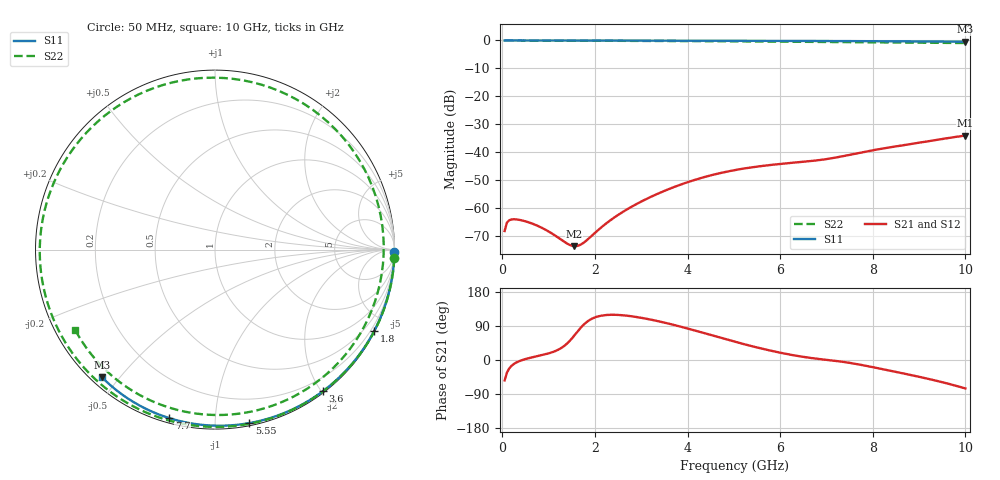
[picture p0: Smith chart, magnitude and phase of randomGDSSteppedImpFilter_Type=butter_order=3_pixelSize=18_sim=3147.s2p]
! freq	dB(S11)	phase(S11)	dB(S12)	phase(S12)
!  dB(S21)	phase(S21)	dB(S22)	phase(S22)
!S-par simulation data
#  GHz  S  DB  R 50
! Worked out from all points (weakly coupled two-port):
!   200 points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, 50 MHz to 10 GHz, reference 50 ohm
!   highest |S21| = -34.08 dB at 10 GHz (marker M1); lowest = -73.7 dB at 1.55 GHz (marker M2)
!   lowest |S11| = -0.4 dB at 10 GHz (marker M3), VSWR 39.01, Z = 1.54 - j22.5 ohm
!   |S11| at or under -10 dB: nowhere
!   |S22| runs from -0.9 to 0.0 dB; largest |S21 - S12| = 0
!   S11 on the Smith chart (normalised r, x): 50 MHz: open; 1.8 GHz: 0.04, -4.17; 3.6 GHz: 0.02, -2.02; 5.55 GHz: 0.02, -1.22; 7.7 GHz: 0.02, -0.76; 10 GHz: 0.03, -0.45
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0.05  -0.00 -0.8  -68.30 -54.0  -68.30 -54.0  -0.00 -2.7
0.1  -0.00 -1.5  -65.28 -33.4  -65.28 -33.4  -0.00 -5.3
0.15  -0.00 -2.3  -64.44 -22.2  -64.44 -22.2  -0.00 -8.0
0.4  -0.00 -6.1  -64.41 -1.5  -64.41 -1.5  -0.02 -21.1
1  -0.02 -15.1  -68.48 17.4  -68.48 17.4  -0.06 -51.9
1.55  -0.03 -23.3  -73.74 63.8  -73.74 63.8  -0.09 -78.8
1.75  -0.03 -26.2  -72.58 92.4  -72.58 92.4  -0.10 -88.2
1.8  -0.03 -27.0  -71.94 98.0  -71.94 98.0  -0.11 -90.5
2.55  -0.05 -37.9  -62.01 118.5  -62.01 118.5  -0.14 -124.3
3.4  -0.07 -50.0  -54.63 101.5  -54.63 101.5  -0.18 -161.4
3.6  -0.07 -52.7  -53.25 95.8  -53.25 95.8  -0.19 -170.2
4.35  -0.09 -63.0  -49.03 71.3  -49.03 71.3  -0.25 155.2
5.05  -0.11 -72.3  -46.39 47.3  -46.39 47.3  -0.32 119.0
5.55  -0.13 -78.8  -45.12 31.6  -45.12 31.6  -0.37 89.9
6.1  -0.15 -85.7  -44.11 16.8  -44.11 16.8  -0.44 54.9
6.4  -0.16 -89.5  -43.65 10.2  -43.65 10.2  -0.48 35.0
6.7  -0.18 -93.2  -43.16 4.8  -43.16 4.8  -0.51 14.8
7.15  -0.20 -98.6  -42.13 -1.7  -42.13 -1.7  -0.56 -14.6
7.7  -0.24 -105.2  -40.31 -11.8  -40.31 -11.8  -0.62 -47.9
8.35  -0.29 -112.8  -38.38 -27.6  -38.38 -27.6  -0.69 -82.2
9.05  -0.35 -120.8  -36.52 -45.7  -36.52 -45.7  -0.78 -113.6
10  -0.45 -131.6  -34.08 -75.1  -34.08 -75.1  -0.93 -150.2
